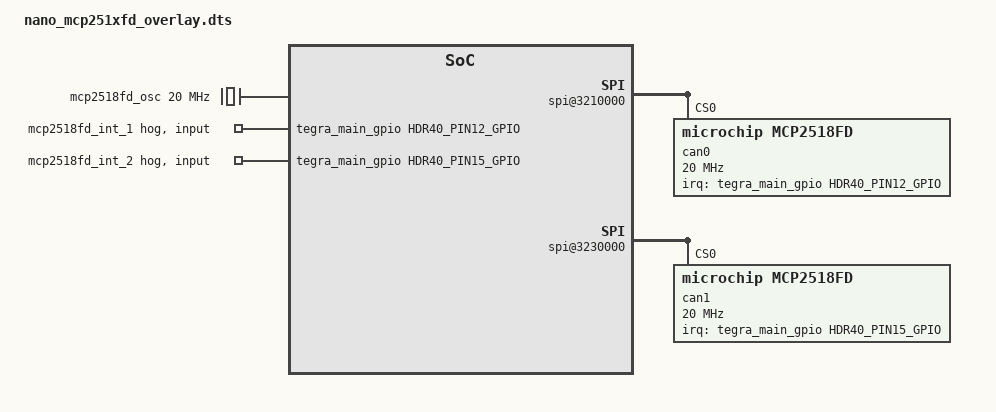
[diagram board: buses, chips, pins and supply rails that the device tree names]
/* SPDX-License-Identifier: GPL-2.0-only */



/*
 * Jetson Device-tree overlay for MCP251xFD CAN Controller.
cpp -nostdinc -I  ../tegra/kernel-include/  -undef -x assembler-with-cpp nano_mcp251xfd_overlay.dts  nano_preprocessed.dts 
dtc -@ -I dts -O dtb -o nano_mcp251xfd.dtbo  nano_preprocessed.dts
 */

/dts-v1/;
/plugin/;

#include <dt-bindings/tegra234-p3767-0000-common.h>
#include <dt-bindings/pinctrl/pinctrl-tegra.h>
#include <dt-bindings/gpio/tegra-gpio.h>
#include <dt-bindings/interrupt-controller/irq.h>

#define TEGRA_MAIN_GPIO(port, offset) TEGRA234_MAIN_GPIO(port, offset)
#define TEGRA_AON_GPIO(port, offset) TEGRA234_AON_GPIO(port, offset)




/ {
	overlay-name = "Westwell MCP2518FD";
	jetson-header-name = "Jetson 40pin Header";	
	compatible = JETSON_COMPATIBLE_P3768;

	fragment@0 {

		target-path = "/";
		__overlay__ {		
			clocks {
				mcp2518fd_osc: mcp2518fd_osc {
					compatible = "fixed-clock";
					#clock-cells = <0x0>;
					clock-frequency = <20000000>;
					clock-accuracy = <10>;
					clock-output-names = "mcp2518fd_osc";
					status = "okay";
				};
			};		
			bus@0 {
			
				spi@3210000 {
					#address-cells = <1>;
        			#size-cells = <0>;
					status = "okay";
					spi@0 {
						status = "disabled";
					};
					spi@1 {
						status = "disabled";
					};
					can0: can@0 {
						compatible = "microchip,mcp2518fd";
						status = "okay";
						/*cs reg addr*/
						reg = <0x0>;
						clocks = <&mcp2518fd_osc>;					
						interrupts-extended = <&tegra_main_gpio HDR40_PIN12_GPIO IRQ_TYPE_LEVEL_LOW>;
						//microchip,rx-int-gpios = <&tegra_main_gpio HDR40_PIN32_GPIO GPIO_ACTIVE_LOW>;
						spi-max-frequency = <20000000>;
						pinctrl-names = "default";
						pinctrl-0 = <&mcp251xfd_spi>;	
						controller-data {
							nvidia,enable-hw-based-cs;
							nvidia,cs-setup-clk-count = <0x1e>;
							nvidia,cs-hold-clk-count = <0x1e>;
							nvidia,rx-clk-tap-delay = <0x1f>;
							nvidia,tx-clk-tap-delay = <0x0>;
						};
					};				
				};
				spi@3230000 {
					#address-cells = <1>;
					#size-cells = <0>;
					status = "okay";
					spi@0 {
						status = "disabled";
					};
					spi@1 {
						status = "disabled";
					};
					can1: can@0 {
						compatible = "microchip,mcp2518fd";
						status = "okay";
						/*cs reg addr*/
						reg = <0x0>;
						clocks = <&mcp2518fd_osc>;
						//pinctrl-names = "default";
						//pinctrl-0 = <&mcp251xfd_spi>;	
						interrupts-extended = <&tegra_main_gpio HDR40_PIN15_GPIO IRQ_TYPE_LEVEL_LOW>;
						//microchip,rx-int-gpios = <&tegra_main_gpio HDR40_PIN32_GPIO GPIO_ACTIVE_LOW>;
						spi-max-frequency = <20000000>;
						controller-data {
							nvidia,enable-hw-based-cs;
							nvidia,cs-setup-clk-count = <0x1e>;
							nvidia,cs-hold-clk-count = <0x1e>;
							nvidia,rx-clk-tap-delay = <0x1f>;
							nvidia,tx-clk-tap-delay = <0x0>;
						};
					};			
				};					
				pinmux@2430000 {
					mcp251xfd_spi: exp-header-pinmux {
						/* mcp251xfd_spi1 */
						hdr40-pin19 {
							nvidia,pins = HDR40_PIN19;
							nvidia,function = HDR40_SPI;
							nvidia,pull = <TEGRA_PIN_PULL_DOWN>;
							nvidia,tristate = <TEGRA_PIN_DISABLE>;
							nvidia,enable-input = <TEGRA_PIN_DISABLE>;
						};
						hdr40-pin21 {
							nvidia,pins = HDR40_PIN21;
							nvidia,function = HDR40_SPI;
							nvidia,pull = <TEGRA_PIN_PULL_DOWN>;
							nvidia,tristate = <TEGRA_PIN_DISABLE>;
							nvidia,enable-input = <TEGRA_PIN_ENABLE>;
						};
						hdr40-pin23 {
							nvidia,pins = HDR40_PIN23;
							nvidia,function = HDR40_SPI;
							nvidia,pull = <TEGRA_PIN_PULL_DOWN>;
							nvidia,tristate = <TEGRA_PIN_DISABLE>;
							nvidia,enable-input = <TEGRA_PIN_DISABLE>;
						};
						/* HDR40_SPI.cs0 */
						hdr40-pin24 {
							nvidia,pins = HDR40_PIN24;
							nvidia,function = HDR40_SPI;
							nvidia,pull = <TEGRA_PIN_PULL_NONE>;
							nvidia,tristate = <TEGRA_PIN_DISABLE>;
							nvidia,enable-input = <TEGRA_PIN_DISABLE>;
						};
						/* HDR40_SPI.cs1 */
						hdr40-pin26 {
							nvidia,pins = HDR40_PIN26;
							nvidia,function = HDR40_SPI;
							nvidia,pull = <TEGRA_PIN_PULL_NONE>;
							nvidia,tristate = <TEGRA_PIN_DISABLE>;
							nvidia,enable-input = <TEGRA_PIN_DISABLE>;
						};
						/* mcp251xfd_spi3 */
						hdr40-pin37 {
							nvidia,pins = HDR40_PIN37;
							nvidia,function = HDR40_SPI_3;
							nvidia,pull = <TEGRA_PIN_PULL_DOWN>;
							nvidia,tristate = <TEGRA_PIN_DISABLE>;
							nvidia,enable-input = <TEGRA_PIN_DISABLE>;
						};
						hdr40-pin22 {
							nvidia,pins = HDR40_PIN22;
							nvidia,function = HDR40_SPI_3;
							nvidia,pull = <TEGRA_PIN_PULL_DOWN>;
							nvidia,tristate = <TEGRA_PIN_DISABLE>;
							nvidia,enable-input = <TEGRA_PIN_ENABLE>;
						};
						hdr40-pin13 {
							nvidia,pins = HDR40_PIN13;
							nvidia,function = HDR40_SPI_3;
							nvidia,pull = <TEGRA_PIN_PULL_DOWN>;
							nvidia,tristate = <TEGRA_PIN_DISABLE>;
							nvidia,enable-input = <TEGRA_PIN_DISABLE>;
						};
						/* HDR40_SPI.cs0 */
						hdr40-pin16 {
							nvidia,pins = HDR40_PIN16;
							nvidia,function = HDR40_SPI_3;
							nvidia,pull = <TEGRA_PIN_PULL_NONE>;
							nvidia,tristate = <TEGRA_PIN_DISABLE>;
							nvidia,enable-input = <TEGRA_PIN_DISABLE>;
						};
						/* HDR40_SPI.cs1 */
						hdr40-pin18 {
							nvidia,pins = HDR40_PIN18;
							nvidia,function = HDR40_SPI_3;
							nvidia,pull = <TEGRA_PIN_PULL_NONE>;
							nvidia,tristate = <TEGRA_PIN_DISABLE>;
							nvidia,enable-input = <TEGRA_PIN_DISABLE>;
						};				
					};
				};
				tegra_main_gpio:gpio@2200000 {
					mcp2518fd_int_1 {
						gpio-hog;
						input;
						gpios = <HDR40_PIN12_GPIO 0>;
						label = "mcp2518fd_int_1";
					};

					mcp2518fd_int_2 {
						gpio-hog;
						input;
						gpios = <HDR40_PIN15_GPIO 0>;
						label = "mcp2518fd_int_2";
					};
					/*mcp2518fd_rx_int_1 {
						gpio-hog;
						input;
						gpios = <HDR40_PIN31_GPIO 0>;
						label = "mcp2518fd_rx_int_1";
					};
					mcp2518fd_rx_int_2 {
						gpio-hog;
						input;
						gpios = <HDR40_PIN32_GPIO 0>;
						label = "mcp2518fd_rx_int_2";
					};*/							
				};	

			};

		};
	};
};
